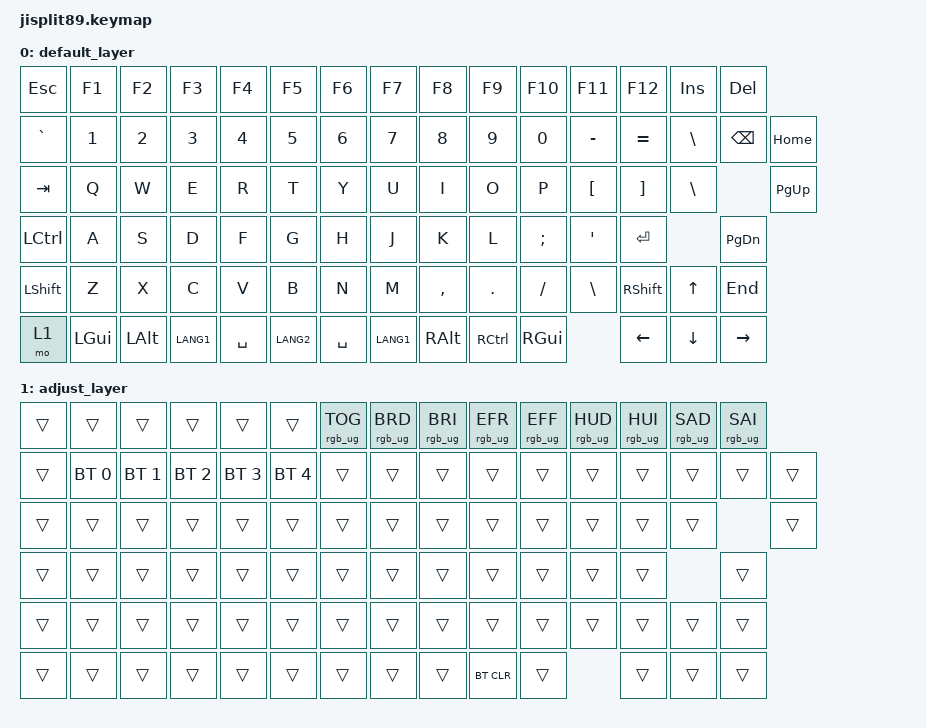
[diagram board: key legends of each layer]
#include <behaviors.dtsi>
#include <dt-bindings/zmk/keys.h>
#include <dt-bindings/zmk/bt.h>
#include <dt-bindings/zmk/rgb.h>

/ {
    keymap {
        compatible = "zmk,keymap";

        default_layer {
            bindings = <
// Row 0 (15キー): ESC, F1-F5, F6-F12, Insert, Delete
&kp ESC    &kp F1     &kp F2     &kp F3     &kp F4     &kp F5                              &kp F6     &kp F7     &kp F8     &kp F9     &kp F10    &kp F11    &kp F12    &kp INS    &kp DEL
// Row 1 (16キー): Grave, 1-5, 6-0, -, =, YEN, Backspace, Home
&kp GRAVE  &kp N1     &kp N2     &kp N3     &kp N4     &kp N5                              &kp N6     &kp N7     &kp N8     &kp N9     &kp N0     &kp MINUS  &kp EQUAL  &kp BSLH   &kp BSPC   &kp HOME
// Row 2 (15キー): Tab, Q-T, Y-P, [, ], \, PgUp
&kp TAB    &kp Q      &kp W      &kp E      &kp R      &kp T                               &kp Y      &kp U      &kp I      &kp O      &kp P      &kp LBKT   &kp RBKT   &kp BSLH              &kp PG_UP
// Row 3 (14キー): Ctrl, A-G, H-L, ;, ', Enter, PgDn
&kp LCTRL  &kp A      &kp S      &kp D      &kp F      &kp G                               &kp H      &kp J      &kp K      &kp L      &kp SEMI   &kp SQT    &kp RET               &kp PG_DN
// Row 4 (15キー): Shift, Z-B, N-/, RO, RShift, Up, End
&kp LSHFT  &kp Z      &kp X      &kp C      &kp V      &kp B                               &kp N      &kp M      &kp COMMA  &kp DOT    &kp SLASH  &kp BSLH   &kp RSHFT  &kp UP     &kp END
// Row 5 (14キー): Adjust, Win, Alt, HENKAN, Space, MUHENKAN, Space, KANA, RAlt, RCtrl, RWin, Left, Down, Right
&mo 1      &kp LGUI   &kp LALT   &kp LANG1  &kp SPACE  &kp LANG2                           &kp SPACE  &kp LANG1  &kp RALT   &kp RCTRL  &kp RGUI              &kp LEFT   &kp DOWN   &kp RIGHT
            >;
        };

        adjust_layer {
            bindings = <
// Row 0 - RGB controls: Toggle, Brightness-, Brightness+, Effect-, Effect+, Hue-, Hue+, Sat-, Sat+
&trans     &trans     &trans     &trans     &trans     &trans                              &rgb_ug RGB_TOG  &rgb_ug RGB_BRD  &rgb_ug RGB_BRI  &rgb_ug RGB_EFR  &rgb_ug RGB_EFF  &rgb_ug RGB_HUD  &rgb_ug RGB_HUI  &rgb_ug RGB_SAD  &rgb_ug RGB_SAI
// Row 1
&trans     &bt BT_SEL 0  &bt BT_SEL 1  &bt BT_SEL 2  &bt BT_SEL 3  &bt BT_SEL 4          &trans     &trans     &trans     &trans     &trans     &trans     &trans     &trans     &trans     &trans
// Row 2
&trans     &trans     &trans     &trans     &trans     &trans                              &trans     &trans     &trans     &trans     &trans     &trans     &trans     &trans                &trans
// Row 3
&trans     &trans     &trans     &trans     &trans     &trans                              &trans     &trans     &trans     &trans     &trans     &trans     &trans                &trans
// Row 4
&trans     &trans     &trans     &trans     &trans     &trans                              &trans     &trans     &trans     &trans     &trans     &trans     &trans     &trans     &trans
// Row 5
&trans     &trans     &trans     &trans     &trans     &trans                              &trans     &trans     &trans     &bt BT_CLR &trans                &trans     &trans     &trans
            >;
        };
    };
};
